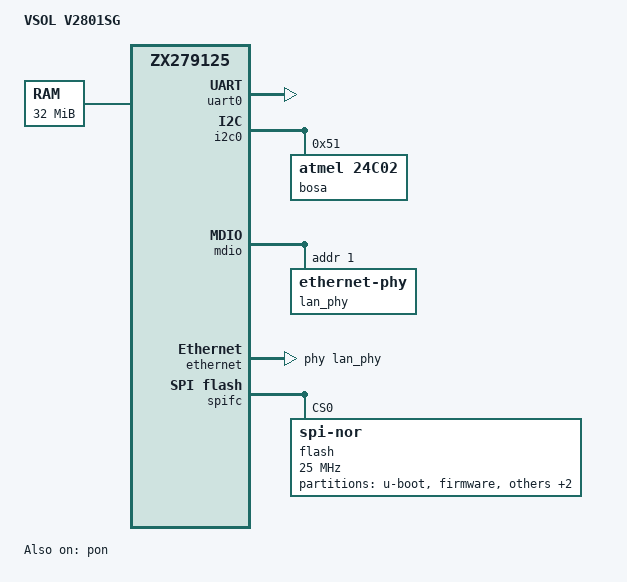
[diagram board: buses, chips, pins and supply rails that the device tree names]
// SPDX-License-Identifier: GPL-2.0-only OR BSD-2-Clause
/*
 * Device Tree Source for VSOL V2801SG
 *
 * Copyright (C) 2026 Ifran Ali <khanu.i.i.k.2000@gmail.com>
 */

/dts-v1/;
#include "zx279125.dtsi"
#include <dt-bindings/gpio/gpio.h>
#include <dt-bindings/input/input.h>

/ {
	model = "VSOL V2801SG";
	compatible = "vsol,v2801sg", "zte,zx279125";

	aliases {
		serial0 = &uart0;
		i2c0 = &i2c0;
	};

	chosen {
		bootargs = "console=ttyS0,115200n8 earlycon initramfs_async=0";
		stdout-path = "serial0:115200n8";
	};

	memory@40000000 {
		device_type = "memory";
		reg = <0x40000000 0x02000000>;
	};

	reserved-memory {
		#address-cells = <1>;
		#size-cells = <1>;
		ranges;

		/*
		 * Packet buffers, buffer-pointer and auxiliary tables, and the
		 * sixteen descriptor rings the CPU queues use.
		 */
		packet_pool: packet-pool@41000000 {
			reg = <0x41000000 0x00a00000>;
			no-map;
		};

		/*
		 * The engine also writes a descriptor ring at 0x41a00000 that no
		 * bootloader programs, and the full extent of its DMA is unknown.
		 * Keep the rest of the top 16 MiB away from Linux.
		 */
		engine-guard@41a00000 {
			reg = <0x41a00000 0x005ef000>;
			no-map;
		};

		/* Page holding the stock U-Boot's relocated cursor table. */
		stock_cursors: stock-cursors@41fef000 {
			reg = <0x41fef000 0x1000>;
			no-map;
		};

		engine-guard@41ff0000 {
			reg = <0x41ff0000 0x00010000>;
			no-map;
		};
	};
};

&uart0 {
	status = "okay";
};

&i2c0 {
	status = "okay";

	bosa: optical-transceiver@51 {
		compatible = "atmel,24c02";
		reg = <0x51>;
	};
};

&pon {
	status = "okay";
	zte,bosa-i2c = <&i2c0>;
};

&mdio {
	status = "okay";

	lan_phy: ethernet-phy@1 {
		reg = <1>;
	};
};

&ethernet {
	status = "okay";
	phy-handle = <&lan_phy>;
	memory-region = <&packet_pool>, <&stock_cursors>;
	/* Relocated cursor table in the March 2025 stock U-Boot. */
	zte,bootloader-cursors = <0x41fef75c>;
};

&spifc {
	status = "okay";

	flash@0 {
		compatible = "jedec,spi-nor";
		reg = <0>;
		spi-max-frequency = <25000000>;

		partitions {
			compatible = "fixed-partitions";
			#address-cells = <1>;
			#size-cells = <1>;

			partition@0 {
				label = "u-boot";
				reg = <0x000000 0x040000>;
				read-only;
			};

			partition@40000 {
				compatible = "openwrt,uimage", "denx,uimage";
				openwrt,offset = <320>;
				openwrt,partition-magic = <0x99999999>;
				label = "firmware";
				reg = <0x040000 0x740000>;
			};

			partition@780000 {
				label = "others";
				reg = <0x780000 0x010000>;
			};

			partition@790000 {
				label = "tagparam";
				reg = <0x790000 0x010000>;
			};

			partition@7a0000 {
				label = "usercfg";
				reg = <0x7a0000 0x060000>;
			};
		};
	};
};
